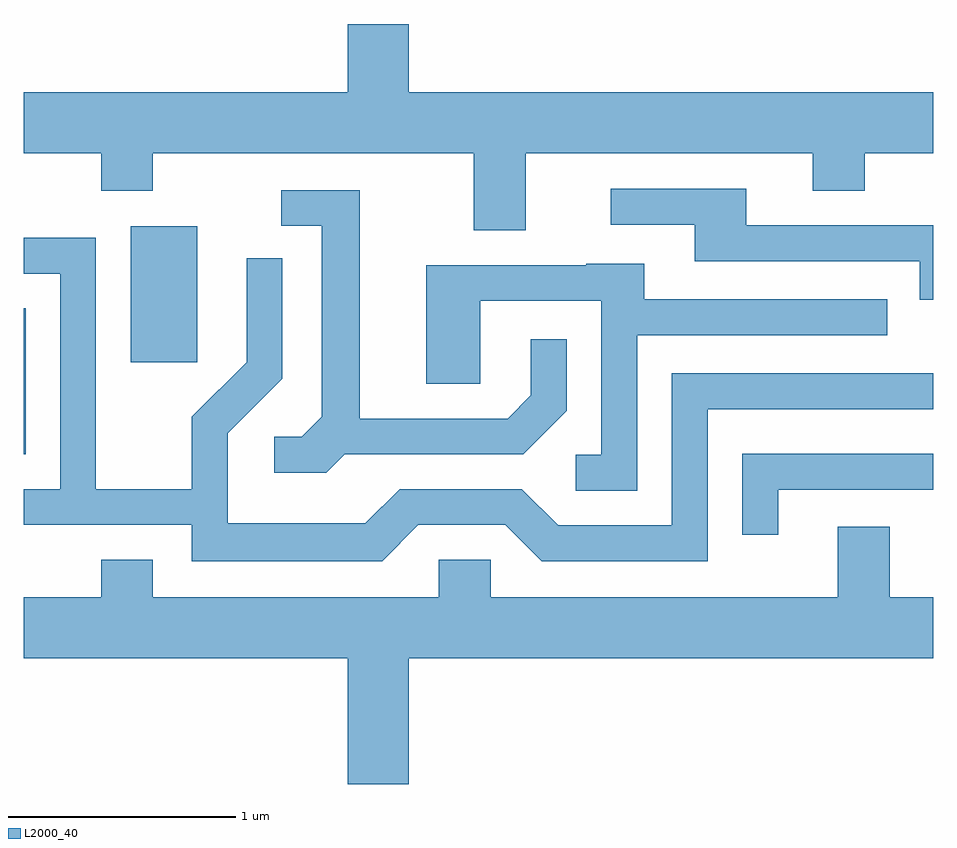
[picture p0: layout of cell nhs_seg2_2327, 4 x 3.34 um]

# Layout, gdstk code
import gdstk
lib = gdstk.Library(unit=1e-6, precision=1e-09)
def R(c, l, rs):  # rectangles x0, y0, x1, y1
    for r in rs: c.add(gdstk.rectangle(r[:2], r[2:], *l))
def P(c, l, *ps):  # polygons
    for p in ps: c.add(gdstk.Polygon(p, *l))
L2000_40 = (2000, 40)

nhs_seg2_2327 = lib.new_cell('nhs_seg2_2327')
R(nhs_seg2_2327, L2000_40, [(253.611,1009.251,253.619,1009.894), (254.081,1009.656,254.374,1010.254)])
P(nhs_seg2_2327, L2000_40, [(255.819,1010.576),(257.081,1010.576),(257.081,1010.411),(257.309,1010.411),(257.309,1010.576),(257.611,1010.576),(257.611,1010.844),(255.304,1010.844),(255.304,1011.144),(255.036,1011.144),(255.036,1010.844),(253.611,1010.844),(253.611,1010.576),(253.951,1010.576),(253.951,1010.411),(254.179,1010.411),(254.179,1010.576),(255.591,1010.576),(255.591,1010.236),(255.819,1010.236)],
  [(257.611,1010.259),(256.789,1010.259),(256.789,1010.419),(256.193,1010.419),(256.193,1010.261),(256.561,1010.261),(256.561,1010.101),(257.551,1010.101),(257.551,1009.931),(257.611,1009.931)],
  [(255.022,1009.251),(255.807,1009.251),(255.999,1009.444),(255.999,1009.758),(255.841,1009.758),(255.841,1009.512),(255.739,1009.409),(255.089,1009.409),(255.089,1010.414),(254.743,1010.414),(254.743,1010.256),(254.921,1010.256),(254.921,1009.417),(254.834,1009.329),(254.713,1009.329),(254.713,1009.171),(254.942,1009.171)],
  [(255.347,1008.941),(255.729,1008.941),(255.889,1008.781),(256.619,1008.781),(256.619,1009.451),(257.611,1009.451),(257.611,1009.609),(256.461,1009.609),(256.461,1008.939),(255.962,1008.939),(255.802,1009.099),(255.264,1009.099),(255.114,1008.949),(254.509,1008.949),(254.509,1009.344),(254.749,1009.584),(254.749,1010.113),(254.591,1010.113),(254.591,1009.657),(254.351,1009.417),(254.351,1009.099),(253.929,1009.099),(253.929,1010.204),(253.611,1010.204),(253.611,1010.046),(253.771,1010.046),(253.771,1009.099),(253.611,1009.099),(253.611,1008.941),(254.351,1008.941),(254.351,1008.781),(255.187,1008.781)],
  [(256.309,1009.776),(257.408,1009.776),(257.408,1009.934),(256.339,1009.934),(256.339,1010.089),(256.085,1010.089),(256.085,1010.084),(255.381,1010.084),(255.381,1009.561),(255.619,1009.561),(255.619,1009.926),(256.151,1009.926),(256.151,1009.249),(256.038,1009.249),(256.038,1009.091),(256.309,1009.091)],
  [(256.929,1009.096),(257.611,1009.096),(257.611,1009.254),(256.771,1009.254),(256.771,1008.898),(256.929,1008.898)],
  [(255.304,1008.356),(257.611,1008.356),(257.611,1008.624),(257.419,1008.624),(257.419,1008.934),(257.191,1008.934),(257.191,1008.624),(255.664,1008.624),(255.664,1008.789),(255.436,1008.789),(255.436,1008.624),(254.179,1008.624),(254.179,1008.789),(253.951,1008.789),(253.951,1008.624),(253.611,1008.624),(253.611,1008.356),(255.036,1008.356),(255.036,1007.802),(255.304,1007.802)])

lib.write_gds('nhs_seg2_2327.gds')
